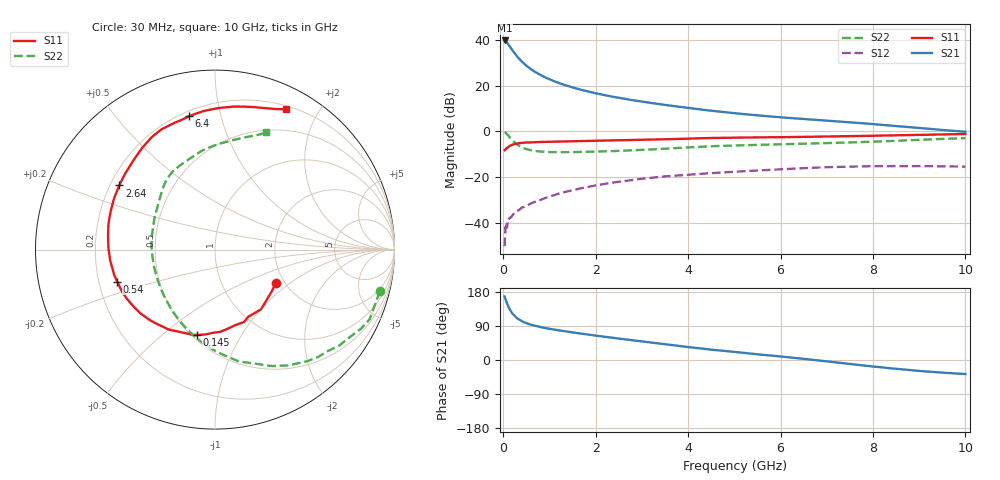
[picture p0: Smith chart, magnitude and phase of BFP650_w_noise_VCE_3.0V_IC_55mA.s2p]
! Infineon Technologies  Discrete & RF Semiconductors
! BFP650
! VCE =  3.0 V,  IC =  55 mA
! Common Emitter S-Parameters:  Jan 2016
# GHz  S  MA  R  50
!  f  S11  S21  S12  S22
! GHz  MAG  ANG  MAG  ANG  MAG  ANG  MAG  ANG
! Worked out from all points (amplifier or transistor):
!   229 points, 30 MHz to 10 GHz, reference 50 ohm
!   highest |S21| = 39.8 dB at 30 MHz (marker M1)
!   |S21| within 3 dB of that: start of sweep to 154.6 MHz
!   unconditionally stable (mu >= 1): 1.755 GHz to end of sweep
!   at 280 MHz: K = 0.49, MSG = 34.1 dB, |S12| = -35.0 dB
!   at 1.78 GHz: K = 1.00, MAG = 20.8 dB, |S12| = -24.4 dB
!   at 10 GHz: K = 1.03, MAG = 6.5 dB, |S12| = -15.4 dB
!   lowest NFmin = 1.01 dB at 450 MHz
!   S11 on the Smith chart (normalised r, x): 30 MHz: 1.81, -0.79; 145 MHz: 0.53, -0.66; 540 MHz: 0.28, -0.15; 2.64 GHz: 0.24, +0.29; 6.4 GHz: 0.23, +0.80; 10 GHz: 0.24, +1.61
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0.03  0.3879 -28.6  97.25 167.8  0.0031 93.8  0.9473 -14.2
0.04  0.3934 -37.3  96.44 163.8  0.0048 86.5  0.9429 -19.0
0.05  0.4081 -47.5  93.95 159.8  0.0082 65.4  0.9449 -24.2
0.06  0.4201 -52.4  92.9 156.7  0.0074 99.4  0.9249 -28.5
0.08  0.4346 -68.2  88.01 149.8  0.0079 75.7  0.8755 -37.6
0.11  0.4591 -86.3  80.28 141.0  0.011 63.0  0.8087 -50.1
0.145  0.4862 -102.1  71.15 132.6  0.0128 61.4  0.7332 -62.1
0.2  0.5144 -120.0  59.07 122.2  0.0145 49.9  0.6368 -78.0
0.26  0.5351 -133.0  48.97 114.4  0.0173 52.9  0.5573 -91.2
0.3  0.5468 -139.7  43.52 110.1  0.0184 53.5  0.5173 -98.9
0.4  0.563 -151.4  33.76 102.4  0.0216 51.0  0.4508 -114.3
0.54  0.5731 -161.9  25.58 95.6  0.0248 54.1  0.4007 -130.1
0.7  0.582 -170.2  19.65 89.7  0.0293 54.8  0.3727 -144.0
1  0.5938 179.3  13.74 82.3  0.0375 56.0  0.3537 -161.8
1.7  0.6147 162.9  8.058 69.4  0.0578 52.6  0.3561 173.5
2.64  0.642 146.2  5.119 54.4  0.0827 44.1  0.3807 152.1
3.4  0.6677 134.4  3.917 43.1  0.1014 36.3  0.4131 139.0
5.1  0.7342 113.0  2.446 20.1  0.1329 19.6  0.4955 117.9
6.4  0.7569 100.9  1.904 4.3  0.1555 7.2  0.535 102.9
6.8  0.7678 96.9  1.784 -0.8  0.1619 2.8  0.5484 99.2
8.4  0.8154 77.5  1.337 -22.1  0.1743 -14.9  0.6172 80.9
10  0.8767 63.0  0.982 -37.0  0.1701 -27.6  0.7126 66.3
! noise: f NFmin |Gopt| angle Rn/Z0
0.45  1.01  0.41  -172  0.07
0.9  1.03  0.43  -166  0.06
1.9  1.18  0.47  -153  0.07
2.4  1.26  0.45  -143  0.09
3.5  1.48  0.47  -120  0.14
